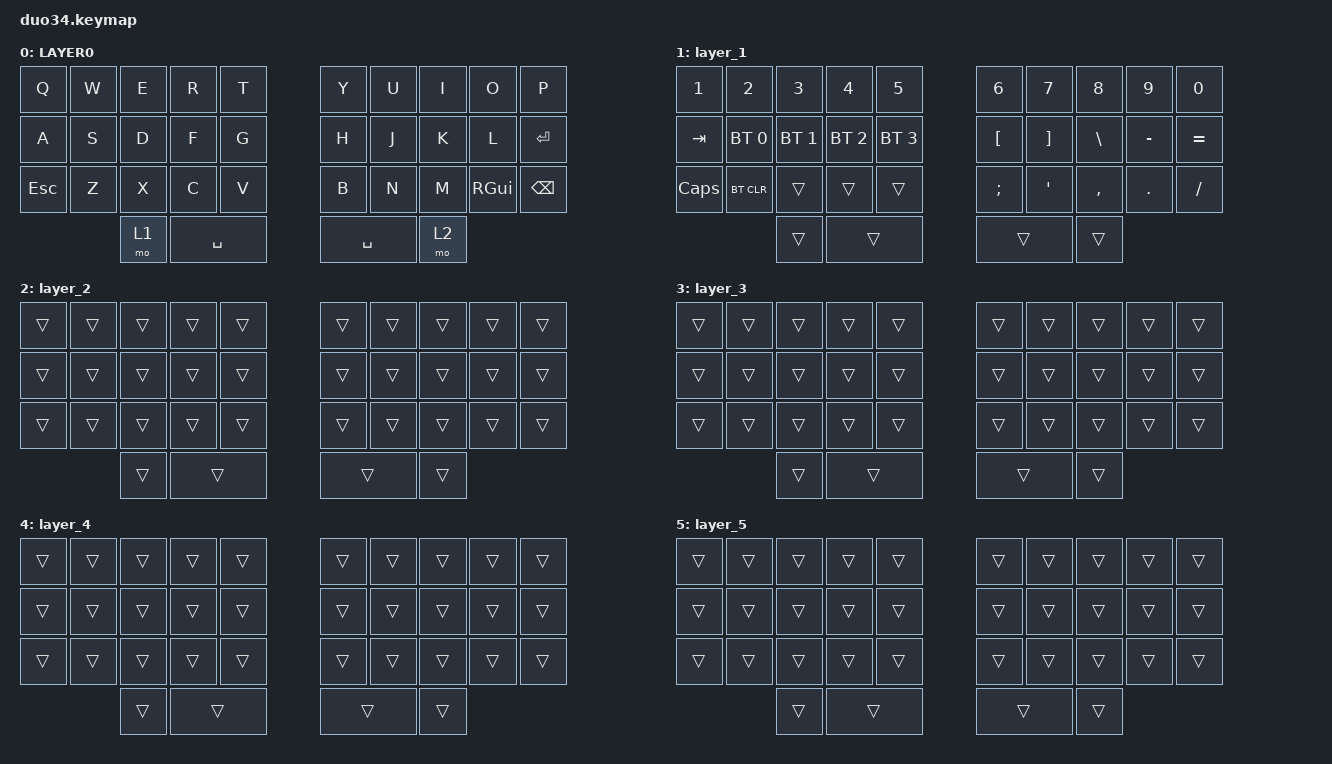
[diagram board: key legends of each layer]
#include <behaviors.dtsi>
#include <dt-bindings/zmk/bt.h>
#include <dt-bindings/zmk/keys.h>
#include <dt-bindings/zmk/outputs.h>

/ {
    keymap {
        compatible = "zmk,keymap";

        LAYER0 {
            bindings = <
&kp Q      &kp W   &kp E   &kp R  &kp T      &kp Y      &kp U  &kp I   &kp O     &kp P
&kp A      &kp S   &kp D   &kp F  &kp G      &kp H      &kp J  &kp K   &kp L     &kp ENTER
&kp ESC    &kp Z   &kp X   &kp C  &kp V      &kp B      &kp N  &kp M   &kp RGUI  &kp BSPC
                   &mo 1          &kp SPACE  &kp SPACE         &mo 2  
            >;
        };

        layer_1 {
            bindings = <
&kp N1        &kp N2        &kp N3        &kp N4        &kp N5        &kp N6          &kp N7          &kp N8           &kp N9           &kp N0
&kp TAB       &bt BT_SEL 0  &bt BT_SEL 1  &bt BT_SEL 2  &bt BT_SEL 3  &kp LBKT        &kp RBKT        &kp BSLH         &kp MINUS        &kp EQUAL
&kp CAPS      &bt BT_CLR    &trans        &trans        &trans        &kp SEMI        &kp APOS        &kp COMMA        &kp DOT          &kp FSLH
                            &trans                      &trans        &trans                          &trans  
            >;
        };

        layer_2 {
            bindings = <
&trans  &trans  &trans  &trans  &trans  &trans  &trans  &trans  &trans  &trans
&trans  &trans  &trans  &trans  &trans  &trans  &trans  &trans  &trans  &trans
&trans  &trans  &trans  &trans  &trans  &trans  &trans  &trans  &trans  &trans
                &trans          &trans  &trans          &trans                
            >;
        };

        layer_3 {
            bindings = <
&trans  &trans  &trans  &trans  &trans  &trans  &trans  &trans  &trans  &trans
&trans  &trans  &trans  &trans  &trans  &trans  &trans  &trans  &trans  &trans
&trans  &trans  &trans  &trans  &trans  &trans  &trans  &trans  &trans  &trans
                &trans          &trans  &trans          &trans                
            >;
        };

        layer_4 {
            bindings = <
&trans  &trans  &trans  &trans  &trans  &trans  &trans  &trans  &trans  &trans
&trans  &trans  &trans  &trans  &trans  &trans  &trans  &trans  &trans  &trans
&trans  &trans  &trans  &trans  &trans  &trans  &trans  &trans  &trans  &trans
                &trans          &trans  &trans          &trans                
            >;
        };

        layer_5 {
            bindings = <
&trans  &trans  &trans  &trans  &trans  &trans  &trans  &trans  &trans  &trans
&trans  &trans  &trans  &trans  &trans  &trans  &trans  &trans  &trans  &trans
&trans  &trans  &trans  &trans  &trans  &trans  &trans  &trans  &trans  &trans
                &trans          &trans  &trans          &trans                
            >;
        };
    };
};
